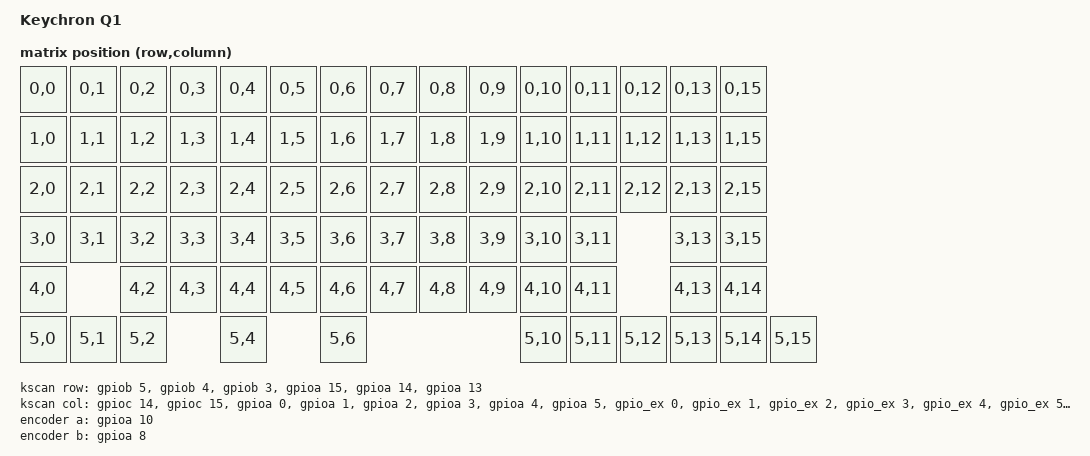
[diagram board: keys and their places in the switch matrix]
/*
 * Copyright (c) 2022-2023 XiNGRZ
 * SPDX-License-Identifier: MIT
 */

/dts-v1/;
#include <freq.h>
#include <mem.h>
#include <st/l4/stm32l432.dtsi>
#include <st/l4/stm32l432k(b-c)ux-pinctrl.dtsi>
#include <dt-bindings/zmk/matrix_transform.h>
#include <dt-bindings/zmk/ckled2001.h>

/ {
	model = "Keychron Q1";
	compatible = "keychron,q1";

	chosen {
		zephyr,code-partition = &code_partition;
		zephyr,sram = &sram0;
		zephyr,flash = &flash0;
		zmk,kscan = &kscan;
		zmk,matrix_transform = &default_transform;
		zmk,underglow = &led_strip;
	};

	sensors {
		compatible = "zmk,keymap-sensors";
		sensors = <&encoder>;
	};

	gpio_ex: sn74hc595 {
		compatible = "ti,sn74hc595-bitbang";
		gpio-controller;
		#gpio-cells = <2>;
		ser-gpios = <&gpioa 7 0>;
		srclk-gpios = <&gpiob 1 0>;
		rclk-gpios = <&gpiob 0 0>;
	};

	kscan: kscan {
		compatible = "zmk,kscan-gpio-matrix";

		diode-direction = "col2row";
		col-gpios = <&gpioc 14  GPIO_ACTIVE_LOW>,
		            <&gpioc 15  GPIO_ACTIVE_LOW>,
		            <&gpioa  0  GPIO_ACTIVE_LOW>,
		            <&gpioa  1  GPIO_ACTIVE_LOW>,
		            <&gpioa  2  GPIO_ACTIVE_LOW>,
		            <&gpioa  3  GPIO_ACTIVE_LOW>,
		            <&gpioa  4  GPIO_ACTIVE_LOW>,
		            <&gpioa  5  GPIO_ACTIVE_LOW>,
		            <&gpio_ex 0 GPIO_ACTIVE_LOW>,
		            <&gpio_ex 1 GPIO_ACTIVE_LOW>,
		            <&gpio_ex 2 GPIO_ACTIVE_LOW>,
		            <&gpio_ex 3 GPIO_ACTIVE_LOW>,
		            <&gpio_ex 4 GPIO_ACTIVE_LOW>,
		            <&gpio_ex 5 GPIO_ACTIVE_LOW>,
		            <&gpio_ex 6 GPIO_ACTIVE_LOW>,
		            <&gpio_ex 7 GPIO_ACTIVE_LOW>;
		row-gpios = <&gpiob  5 (GPIO_ACTIVE_LOW | GPIO_PULL_UP)>,
		            <&gpiob  4 (GPIO_ACTIVE_LOW | GPIO_PULL_UP)>,
		            <&gpiob  3 (GPIO_ACTIVE_LOW | GPIO_PULL_UP)>,
		            <&gpioa 15 (GPIO_ACTIVE_LOW | GPIO_PULL_UP)>,
		            <&gpioa 14 (GPIO_ACTIVE_LOW | GPIO_PULL_UP)>,
		            <&gpioa 13 (GPIO_ACTIVE_LOW | GPIO_PULL_UP)>;
	};

	default_transform: keymap_transform {
		compatible = "zmk,matrix-transform";
		columns = <16>;
		rows = <6>;
		map = <
			RC(0,0) RC(0,1) RC(0,2) RC(0,3) RC(0,4) RC(0,5) RC(0,6) RC(0,7) RC(0,8) RC(0,9) RC(0,10) RC(0,11) RC(0,12) RC(0,13)          RC(0,15)
			RC(1,0) RC(1,1) RC(1,2) RC(1,3) RC(1,4) RC(1,5) RC(1,6) RC(1,7) RC(1,8) RC(1,9) RC(1,10) RC(1,11) RC(1,12) RC(1,13)          RC(1,15)
			RC(2,0) RC(2,1) RC(2,2) RC(2,3) RC(2,4) RC(2,5) RC(2,6) RC(2,7) RC(2,8) RC(2,9) RC(2,10) RC(2,11) RC(2,12) RC(2,13)          RC(2,15)
			RC(3,0) RC(3,1) RC(3,2) RC(3,3) RC(3,4) RC(3,5) RC(3,6) RC(3,7) RC(3,8) RC(3,9) RC(3,10) RC(3,11)          RC(3,13)          RC(3,15)
			RC(4,0)         RC(4,2) RC(4,3) RC(4,4) RC(4,5) RC(4,6) RC(4,7) RC(4,8) RC(4,9) RC(4,10) RC(4,11)          RC(4,13) RC(4,14)
			RC(5,0) RC(5,1) RC(5,2)         RC(5,4)         RC(5,6)                         RC(5,10) RC(5,11) RC(5,12) RC(5,13) RC(5,14) RC(5,15)
		>;
	};

	encoder: encoder {
		compatible = "alps,ec11";
		label = "ENCODER";
		a-gpios = <&gpioa 10 (GPIO_ACTIVE_LOW | GPIO_PULL_UP)>;
		b-gpios = <&gpioa 8 (GPIO_ACTIVE_LOW | GPIO_PULL_UP)>;
	};

	led_strip: led-strip-composite {
		compatible = "zmk,led-strip-composite";

		chain-length = <82>;

		strip-0 {
			led-strip = <&led_strip_0>;
		};

		strip-1 {
			led-strip = <&led_strip_1>;
		};
	};
};

&clk_hsi {
	status = "okay";
};

&pll {
	div-m = <1>;
	mul-n = <10>;
	div-p = <7>;
	div-q = <2>;
	div-r = <2>;
	clocks = <&clk_hsi>;
	status = "okay";
};

&rcc {
	clocks = <&pll>;
	clock-frequency = <DT_FREQ_M(80)>;
	ahb-prescaler = <1>;
	apb1-prescaler = <1>;
	apb2-prescaler = <1>;
};

&sram0 {
	reg = <0x20000000 DT_SIZE_K(48)>;
};

&flash0 {
	reg = <0x8000000 DT_SIZE_K(128)>;

	partitions {
		compatible = "fixed-partitions";
		#address-cells = <1>;
		#size-cells = <1>;

		code_partition: partition@0 {
			label = "code_partition";
			reg = <DT_SIZE_K(0) DT_SIZE_K(124)>;
		};

		storage_partition: partition@1f000 {
			label = "storage";
			reg = <DT_SIZE_K(124) DT_SIZE_K(4)>;
		};
	};
};

&usb {
	status = "okay";
};

&i2c1 {
	pinctrl-0 = <&i2c1_scl_pb6 &i2c1_sda_pb7>;
	pinctrl-names = "default";
	status = "okay";

	clock-frequency = <DT_FREQ_K(400)>;

	led_strip_0: ckled2001@77 {
		compatible = "zmk,ckled2001";

		reg = <0x77>;
		chain-length = <45>;
		#led-strip-cells = <0>;

		map = <
			/* ROW 0 */
			/* R        G        B */
			CK(2, 0) CK(0, 0) CK(1, 0)
			CK(2, 1) CK(0, 1) CK(1, 1)
			CK(2, 2) CK(0, 2) CK(1, 2)
			CK(2, 3) CK(0, 3) CK(1, 3)
			CK(2, 4) CK(0, 4) CK(1, 4)
			CK(2, 5) CK(0, 5) CK(1, 5)
			CK(2, 6) CK(0, 6) CK(1, 6)
			CK(2, 7) CK(0, 7) CK(1, 7)
			CK(2, 8) CK(0, 8) CK(1, 8)
			CK(2, 9) CK(0, 9) CK(1, 9)
			CK(2,10) CK(0,10) CK(1,10)
			CK(2,11) CK(0,11) CK(1,11)
			CK(2,12) CK(0,12) CK(1,12)
			CK(2,13) CK(0,13) CK(1,13)
			CK(2,15) CK(0,15) CK(1,15)
			/* ROW 1 */
			/* R        G        B */
			CK(8, 0) CK(6, 0) CK(7, 0)
			CK(8, 1) CK(6, 1) CK(7, 1)
			CK(8, 2) CK(6, 2) CK(7, 2)
			CK(8, 3) CK(6, 3) CK(7, 3)
			CK(8, 4) CK(6, 4) CK(7, 4)
			CK(8, 5) CK(6, 5) CK(7, 5)
			CK(8, 6) CK(6, 6) CK(7, 6)
			CK(8, 7) CK(6, 7) CK(7, 7)
			CK(8, 8) CK(6, 8) CK(7, 8)
			CK(8, 9) CK(6, 9) CK(7, 9)
			CK(8,10) CK(6,10) CK(7,10)
			CK(8,11) CK(6,11) CK(7,11)
			CK(8,12) CK(6,12) CK(7,12)
			CK(8,13) CK(6,13) CK(7,13)
			CK(8,15) CK(6,15) CK(7,15)
			/* ROW 2 */
			/* R        G        B */
			CK(5, 0) CK(3, 0) CK(4, 0)
			CK(5, 1) CK(3, 1) CK(4, 1)
			CK(5, 2) CK(3, 2) CK(4, 2)
			CK(5, 3) CK(3, 3) CK(4, 3)
			CK(5, 4) CK(3, 4) CK(4, 4)
			CK(5, 5) CK(3, 5) CK(4, 5)
			CK(5, 6) CK(3, 6) CK(4, 6)
			CK(5, 7) CK(3, 7) CK(4, 7)
			CK(5, 8) CK(3, 8) CK(4, 8)
			CK(5, 9) CK(3, 9) CK(4, 9)
			CK(5,10) CK(3,10) CK(4,10)
			CK(5,11) CK(3,11) CK(4,11)
			CK(5,12) CK(3,12) CK(4,12)
			CK(5,13) CK(3,13) CK(4,13)
			CK(5,15) CK(3,15) CK(4,15)
		>;
	};

	led_strip_1: ckled2001@74 {
		compatible = "zmk,ckled2001";

		reg = <0x74>;
		chain-length = <37>;
		#led-strip-cells = <0>;

		map = <
			/* ROW 3 */
			/* R        G        B */
			CK(8, 0) CK(6, 0) CK(7, 0)
			CK(8, 1) CK(6, 1) CK(7, 1)
			CK(8, 2) CK(6, 2) CK(7, 2)
			CK(8, 3) CK(6, 3) CK(7, 3)
			CK(8, 4) CK(6, 4) CK(7, 4)
			CK(8, 5) CK(6, 5) CK(7, 5)
			CK(8, 6) CK(6, 6) CK(7, 6)
			CK(8, 7) CK(6, 7) CK(7, 7)
			CK(8, 8) CK(6, 8) CK(7, 8)
			CK(8, 9) CK(6, 9) CK(7, 9)
			CK(8,10) CK(6,10) CK(7,10)
			CK(8,11) CK(6,11) CK(7,11)
			CK(8,13) CK(6,13) CK(7,13)
			CK(8,15) CK(6,15) CK(7,15)
			/* ROW 4 */
			/* R        G        B */
			CK(5, 0) CK(3, 0) CK(4, 0)
			CK(5, 2) CK(3, 2) CK(4, 2)
			CK(5, 3) CK(3, 3) CK(4, 3)
			CK(5, 4) CK(3, 4) CK(4, 4)
			CK(5, 5) CK(3, 5) CK(4, 5)
			CK(5, 6) CK(3, 6) CK(4, 6)
			CK(5, 7) CK(3, 7) CK(4, 7)
			CK(5, 8) CK(3, 8) CK(4, 8)
			CK(5, 9) CK(3, 9) CK(4, 9)
			CK(5,10) CK(3,10) CK(4,10)
			CK(5,11) CK(3,11) CK(4,11)
			CK(5,13) CK(3,13) CK(4,13)
			CK(5,14) CK(3,14) CK(4,14)
			/* ROW 5 */
			/* R        G        B */
			CK(2, 0) CK(0, 0) CK(1, 0)
			CK(2, 1) CK(0, 1) CK(1, 1)
			CK(2, 2) CK(0, 2) CK(1, 2)
			CK(2, 6) CK(0, 6) CK(1, 6)
			CK(2,10) CK(0,10) CK(1,10)
			CK(2,11) CK(0,11) CK(1,11)
			CK(2,12) CK(0,12) CK(1,12)
			CK(2,13) CK(0,13) CK(1,13)
			CK(2,14) CK(0,14) CK(1,14)
			CK(2,15) CK(0,15) CK(1,15)
		>;
	};
};
